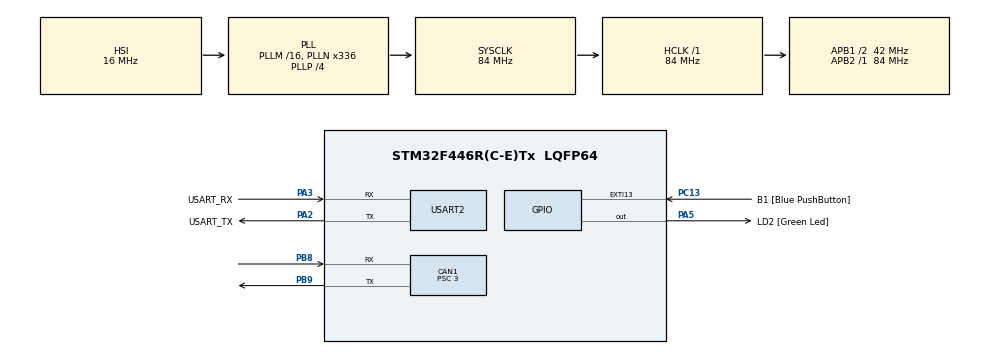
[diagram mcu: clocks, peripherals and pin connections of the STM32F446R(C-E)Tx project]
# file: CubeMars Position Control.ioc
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CAN1.BS1=CAN_BS1_11TQ
CAN1.BS2=CAN_BS2_2TQ
CAN1.CalculateBaudRate=1000000
CAN1.CalculateTimeBit=1000
CAN1.CalculateTimeQuantum=71.42857142857143
CAN1.Prescaler=3
Mcu.Family=STM32F4
Mcu.Name=STM32F446R(C-E)Tx
Mcu.Package=LQFP64
NVIC.PriorityGroup=NVIC_PRIORITYGROUP_0
PA13.GPIO_Label=TMS
PA13.Mode=Serial_Wire
PA13.Signal=SYS_JTMS-SWDIO
PA14.GPIO_Label=TCK
PA14.Mode=Serial_Wire
PA14.Signal=SYS_JTCK-SWCLK
PA2.GPIO_Label=USART_TX
PA2.Mode=Asynchronous
PA2.Signal=USART2_TX
PA3.GPIO_Label=USART_RX
PA3.Mode=Asynchronous
PA3.Signal=USART2_RX
PA5.GPIO_Label=LD2 [Green Led]
PA5.Signal=GPIO_Output
PB3.GPIO_Label=SWO
PB3.Signal=SYS_JTDO-SWO
PB8.Mode=CAN_Activate
PB8.Signal=CAN1_RX
PB9.Mode=CAN_Activate
PB9.Signal=CAN1_TX
PC13.GPIO_Label=B1 [Blue PushButton]
PC13.GPIO_ModeDefaultEXTI=GPIO_MODE_IT_FALLING
PC13.Signal=GPXTI13
PC14-OSC32_IN.Mode=LSE-External-Oscillator
PC14-OSC32_IN.Signal=RCC_OSC32_IN
PC15-OSC32_OUT.Mode=LSE-External-Oscillator
PC15-OSC32_OUT.Signal=RCC_OSC32_OUT
PH0-OSC_IN.Mode=HSE-External-Oscillator
PH0-OSC_IN.Signal=RCC_OSC_IN
PH1-OSC_OUT.Mode=HSE-External-Oscillator
PH1-OSC_OUT.Signal=RCC_OSC_OUT
ProjectManager.HeapSize=0x200
ProjectManager.StackSize=0x400
ProjectManager.TargetToolchain=STM32CubeIDE
RCC.48MHZClocksFreq_Value=84000000
RCC.AHBFreq_Value=84000000
RCC.APB1CLKDivider=RCC_HCLK_DIV2
RCC.APB1Freq_Value=42000000
RCC.APB1TimFreq_Value=84000000
RCC.APB2Freq_Value=84000000
RCC.APB2TimFreq_Value=84000000
RCC.CortexFreq_Value=84000000
RCC.FLatency-AdvancedSettings=FLASH_LATENCY_2
RCC.HCLKFreq_Value=84000000
RCC.HSE_VALUE=8000000
RCC.HSI_VALUE=16000000
RCC.PLLN=336
RCC.PLLP=RCC_PLLP_DIV4
RCC.SYSCLKFreq_VALUE=84000000
RCC.SYSCLKSource=RCC_SYSCLKSOURCE_PLLCLK
RCC.USBFreq_Value=168000000
RCC.VCOOutputFreq_Value=336000000
USART2.VirtualMode=VM_ASYNC
board=NUCLEO-F446RE

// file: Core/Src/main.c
/* USER CODE BEGIN Header */
/**
  ******************************************************************************
  * @file           : main.c
  * @brief          : Position Control
  ******************************************************************************
  * @attention
  *
  * Copyright (c) 2026 STMicroelectronics.
  * All rights reserved.
  *
  * This software is licensed under terms that can be found in the LICENSE file
  * in the root directory of this software component.
  * If no LICENSE file comes with this software, it is provided AS-IS.
  *
  ******************************************************************************
  */
/* USER CODE END Header */
#include "main.h"
#include <math.h>
#include <string.h>

CAN_HandleTypeDef hcan1;

UART_HandleTypeDef huart2;

/* USER CODE BEGIN PV */
// ===== MOTOR CONTROL PARAMS =====
// filtered velocity used for damping (reduces noise)
float vel_filt = 0.0f;

// controller gains
float Kp = 6.0f; //position stiffness
float Kd = 0.2f; //damping

// reference position
float home_pos = 0.0f;

// CAN ID
uint8_t motor_id = 1;

// ===== MOTOR STATE =====
float pos = 0.0f; // Current Position
float vel = 0.0f; // Current Velocity

// ===== CAN =====
CAN_TxHeaderTypeDef txHeader;
CAN_RxHeaderTypeDef rxHeader;

uint8_t txData[8];
uint8_t rxData[8];

uint32_t txMailbox;
/* USER CODE END PV */

void SystemClock_Config(void);
static void MX_GPIO_Init(void);
static void MX_CAN1_Init(void);
static void MX_USART2_UART_Init(void);

/* USER CODE BEGIN 0 */

// Packs control inputs into 8-byte CAN message
void pack_cmd(float p, float v, float kp, float kd, float t)
{
	// Scale physical values
    uint16_t p_int = (uint16_t)((p + 12.5f) * 65535.0f / 25.0f); //Position
    uint16_t v_int = (uint16_t)((v + 30.0f) * 4095.0f / 60.0f); //Velocity
    uint16_t kp_int = (uint16_t)(kp * 4095.0f / 500.0f); // Proportional
    uint16_t kd_int = (uint16_t)(kd * 4095.0f / 5.0f); // Derivative
    uint16_t t_int = (uint16_t)((t + 18.0f) * 4095.0f / 36.0f); // Torque

    // Pack into CAN frame
    txData[0] = p_int >> 8;
    txData[1] = p_int & 0xFF;
    txData[2] = v_int >> 4;
    txData[3] = ((v_int & 0xF) << 4) | (kp_int >> 8);
    txData[4] = kp_int & 0xFF;
    txData[5] = kd_int >> 4;
    txData[6] = ((kd_int & 0xF) << 4) | (t_int >> 8);
    txData[7] = t_int & 0xFF;
}

// Extracts the position and velocity from received CAN frame
void unpack_reply()
{
	// From bytes
    uint16_t p_int = (rxData[1] << 8) | rxData[2];
    uint16_t v_int = (rxData[3] << 4) | (rxData[4] >> 4);

    // Convert to physical values
    pos = ((float)p_int) * 25.0f / 65535.0f - 12.5f;
    vel = ((float)v_int) * 60.0f / 4095.0f - 30.0f;
}

// Sends CAN command to motor
void send_cmd()
{
	// CAN frame header
    txHeader.StdId = motor_id;
    txHeader.IDE = CAN_ID_STD;
    txHeader.RTR = CAN_RTR_DATA;
    txHeader.DLC = 8;

    HAL_CAN_AddTxMessage(&hcan1, &txHeader, txData, &txMailbox);
}

// Enables motor
void enable_motor()
{
    for(int i = 0; i < 8; i++) txData[i] = 0xFF;
    txData[7] = 0xFC;
    send_cmd();
    HAL_Delay(10);
}
/* USER CODE END 0 */

int main(void)
{

  /* MCU Configuration--------------------------------------------------------*/

  /* Reset of all peripherals, Initializes the Flash interface and the Systick. */
  HAL_Init();

  /* Configure the system clock */
  SystemClock_Config();

  /* Initialize all configured peripherals */
  MX_GPIO_Init();
  MX_CAN1_Init();
  MX_USART2_UART_Init();
  /* USER CODE BEGIN 2 */

  // Start CAN peripheral
  HAL_CAN_Start(&hcan1);

  // Enable interrupt for incoming CAN messages
  HAL_CAN_ActivateNotification(&hcan1, CAN_IT_RX_FIFO0_MSG_PENDING);

  // Send enable command multiple times to ensure it is active
  for(int i = 0; i < 10; i++)
  {
      enable_motor();
      HAL_Delay(10);
  }

  // Allow time for initial feedback
  HAL_Delay(100);

  // Store current position as home
  home_pos = pos;

  /* USER CODE END 2 */

  /* Infinite loop */
  /* USER CODE BEGIN WHILE */
  while (1)
  {
      // Compute position error from home
      float error = home_pos - pos;

      // Apply a low-pass filter to velocity to reduce noise
      float alpha = 0.2f;
      vel_filt = alpha * vel + (1.0f - alpha) * vel_filt;

      // Start with nominal proportion gain
      float kp_eff = Kp;

      // Reduce stiffness near the target point to limit oscillations
      if (fabsf(error) < 0.015f)
          kp_eff *= 0.6f;

      // Increase damping based on velocity magnitude for stability
      float kd_eff = Kd + 0.08f * fabsf(vel_filt);

      // Send position command, torque is at zero so internal control handles the actuation
      pack_cmd(home_pos, 0.0f, kp_eff, kd_eff, 0.0f);

      // Transmit over CAN
      send_cmd();

      // Loop delay
      HAL_Delay(5);
  }
  /* USER CODE END 3 */
}

void SystemClock_Config(void)
{
  RCC_OscInitTypeDef RCC_OscInitStruct = {0};
  RCC_ClkInitTypeDef RCC_ClkInitStruct = {0};

  /** Configure the main internal regulator output voltage
  */
  __HAL_RCC_PWR_CLK_ENABLE();
  __HAL_PWR_VOLTAGESCALING_CONFIG(PWR_REGULATOR_VOLTAGE_SCALE3);

  /** Initializes the RCC Oscillators according to the specified parameters
  * in the RCC_OscInitTypeDef structure.
  */
  RCC_OscInitStruct.OscillatorType = RCC_OSCILLATORTYPE_HSI;
  RCC_OscInitStruct.HSIState = RCC_HSI_ON;
  RCC_OscInitStruct.HSICalibrationValue = RCC_HSICALIBRATION_DEFAULT;
  RCC_OscInitStruct.PLL.PLLState = RCC_PLL_ON;
  RCC_OscInitStruct.PLL.PLLSource = RCC_PLLSOURCE_HSI;
  RCC_OscInitStruct.PLL.PLLM = 16;
  RCC_OscInitStruct.PLL.PLLN = 336;
  RCC_OscInitStruct.PLL.PLLP = RCC_PLLP_DIV4;
  RCC_OscInitStruct.PLL.PLLQ = 2;
  RCC_OscInitStruct.PLL.PLLR = 2;
  if (HAL_RCC_OscConfig(&RCC_OscInitStruct) != HAL_OK)
  {
    Error_Handler();
  }

  /** Initializes the CPU, AHB and APB buses clocks
  */
  RCC_ClkInitStruct.ClockType = RCC_CLOCKTYPE_HCLK|RCC_CLOCKTYPE_SYSCLK
                              |RCC_CLOCKTYPE_PCLK1|RCC_CLOCKTYPE_PCLK2;
  RCC_ClkInitStruct.SYSCLKSource = RCC_SYSCLKSOURCE_PLLCLK;
  RCC_ClkInitStruct.AHBCLKDivider = RCC_SYSCLK_DIV1;
  RCC_ClkInitStruct.APB1CLKDivider = RCC_HCLK_DIV2;
  RCC_ClkInitStruct.APB2CLKDivider = RCC_HCLK_DIV1;

  if (HAL_RCC_ClockConfig(&RCC_ClkInitStruct, FLASH_LATENCY_2) != HAL_OK)
  {
    Error_Handler();
  }
}

static void MX_CAN1_Init(void)
{

  /* USER CODE BEGIN CAN1_Init 0 */

	// Configure CAN filter to accept all incoming messages
	CAN_FilterTypeDef filter;

	filter.FilterActivation = ENABLE;
	filter.FilterBank = 0;
	filter.FilterFIFOAssignment = CAN_FILTER_FIFO0;

	// ID and mask set to 0 to accept all IDs
	filter.FilterIdHigh = 0x0000;
	filter.FilterIdLow = 0x0000;
	filter.FilterMaskIdHigh = 0x0000;
	filter.FilterMaskIdLow = 0x0000;

	filter.FilterMode = CAN_FILTERMODE_IDMASK;
	filter.FilterScale = CAN_FILTERSCALE_32BIT;

	// Applies the filter
	HAL_CAN_ConfigFilter(&hcan1, &filter);
  /* USER CODE END CAN1_Init 0 */

  hcan1.Instance = CAN1;
  hcan1.Init.Prescaler = 3;
  hcan1.Init.Mode = CAN_MODE_NORMAL;
  hcan1.Init.SyncJumpWidth = CAN_SJW_1TQ;
  hcan1.Init.TimeSeg1 = CAN_BS1_11TQ;
  hcan1.Init.TimeSeg2 = CAN_BS2_2TQ;
  hcan1.Init.TimeTriggeredMode = DISABLE;
  hcan1.Init.AutoBusOff = DISABLE;
  hcan1.Init.AutoWakeUp = DISABLE;
  hcan1.Init.AutoRetransmission = DISABLE;
  hcan1.Init.ReceiveFifoLocked = DISABLE;
  hcan1.Init.TransmitFifoPriority = DISABLE;
  if (HAL_CAN_Init(&hcan1) != HAL_OK)
  {
    Error_Handler();
  }

}

static void MX_USART2_UART_Init(void)
{

  huart2.Instance = USART2;
  huart2.Init.BaudRate = 115200;
  huart2.Init.WordLength = UART_WORDLENGTH_8B;
  huart2.Init.StopBits = UART_STOPBITS_1;
  huart2.Init.Parity = UART_PARITY_NONE;
  huart2.Init.Mode = UART_MODE_TX_RX;
  huart2.Init.HwFlowCtl = UART_HWCONTROL_NONE;
  huart2.Init.OverSampling = UART_OVERSAMPLING_16;
  if (HAL_UART_Init(&huart2) != HAL_OK)
  {
    Error_Handler();
  }

}

static void MX_GPIO_Init(void)
{
  GPIO_InitTypeDef GPIO_InitStruct = {0};

  /* GPIO Ports Clock Enable */
  __HAL_RCC_GPIOC_CLK_ENABLE();
  __HAL_RCC_GPIOH_CLK_ENABLE();
  __HAL_RCC_GPIOA_CLK_ENABLE();
  __HAL_RCC_GPIOB_CLK_ENABLE();

  /*Configure GPIO pin Output Level */
  HAL_GPIO_WritePin(LD2_GPIO_Port, LD2_Pin, GPIO_PIN_RESET);

  /*Configure GPIO pin : B1_Pin */
  GPIO_InitStruct.Pin = B1_Pin;
  GPIO_InitStruct.Mode = GPIO_MODE_IT_FALLING;
  GPIO_InitStruct.Pull = GPIO_NOPULL;
  HAL_GPIO_Init(B1_GPIO_Port, &GPIO_InitStruct);

  /*Configure GPIO pin : LD2_Pin */
  GPIO_InitStruct.Pin = LD2_Pin;
  GPIO_InitStruct.Mode = GPIO_MODE_OUTPUT_PP;
  GPIO_InitStruct.Pull = GPIO_NOPULL;
  GPIO_InitStruct.Speed = GPIO_SPEED_FREQ_LOW;
  HAL_GPIO_Init(LD2_GPIO_Port, &GPIO_InitStruct);

}

/* USER CODE BEGIN 4 */
void HAL_CAN_RxFifo0MsgPendingCallback(CAN_HandleTypeDef *hcan)
{
    HAL_GPIO_TogglePin(LD2_GPIO_Port, LD2_Pin); // onboard LED

    HAL_CAN_GetRxMessage(hcan, CAN_RX_FIFO0, &rxHeader, rxData);
    unpack_reply();
}
/* USER CODE END 4 */

void Error_Handler(void)
{
  __disable_irq();
  while (1)
  {
  }
}
